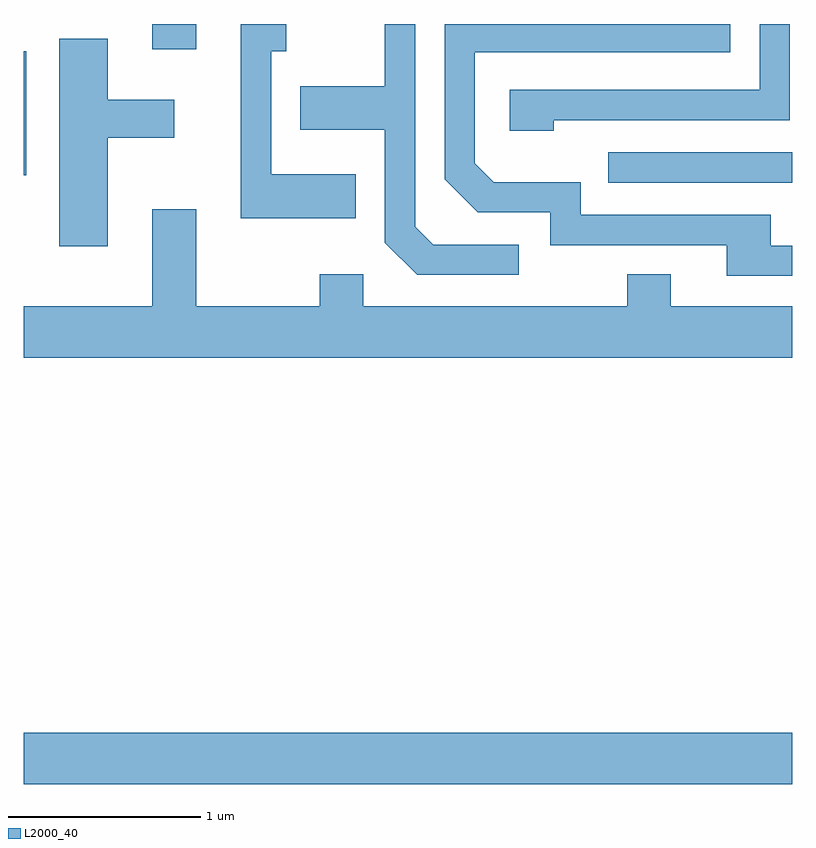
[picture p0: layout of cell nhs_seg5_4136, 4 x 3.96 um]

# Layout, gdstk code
import gdstk
lib = gdstk.Library(unit=1e-6, precision=1e-09)
def R(c, l, rs):  # rectangles x0, y0, x1, y1
    for r in rs: c.add(gdstk.rectangle(r[:2], r[2:], *l))
def P(c, l, *ps):  # polygons
    for p in ps: c.add(gdstk.Polygon(p, *l))
L2000_40 = (2000, 40)

nhs_seg5_4136 = lib.new_cell('nhs_seg5_4136')
R(nhs_seg5_4136, L2000_40, [(307.611,1470.116,311.611,1470.384), (310.653,1473.246,311.611,1473.404), (307.611,1473.286,307.624,1473.929), (308.281,1473.941,308.509,1474.072)])
P(nhs_seg5_4136, L2000_40, [(310.369,1473.571),(311.599,1473.571),(311.599,1474.072),(311.441,1474.072),(311.441,1473.729),(310.141,1473.729),(310.141,1473.516),(310.369,1473.516)],
  [(310.188,1472.924),(309.742,1472.924),(309.649,1473.017),(309.649,1474.072),(309.491,1474.072),(309.491,1473.749),(309.051,1473.749),(309.051,1473.521),(309.491,1473.521),(309.491,1472.934),(309.659,1472.766),(310.188,1472.766)],
  [(309.339,1473.289),(308.899,1473.289),(308.899,1473.931),(308.978,1473.931),(308.978,1474.072),(308.741,1474.072),(308.741,1473.061),(309.339,1473.061)],
  [(311.611,1472.919),(311.499,1472.919),(311.499,1473.079),(310.509,1473.079),(310.509,1473.249),(310.057,1473.249),(309.959,1473.347),(309.959,1473.926),(311.289,1473.926),(311.289,1474.072),(309.801,1474.072),(309.801,1473.264),(309.974,1473.091),(310.351,1473.091),(310.351,1472.921),(311.271,1472.921),(311.271,1472.761),(311.611,1472.761)],
  [(308.049,1473.481),(308.394,1473.481),(308.394,1473.679),(308.049,1473.679),(308.049,1473.994),(307.796,1473.994),(307.796,1472.916),(308.049,1472.916)],
  [(311.611,1472.604),(310.979,1472.604),(310.979,1472.769),(310.751,1472.769),(310.751,1472.604),(309.379,1472.604),(309.379,1472.769),(309.151,1472.769),(309.151,1472.604),(308.509,1472.604),(308.509,1473.109),(308.281,1473.109),(308.281,1472.604),(307.611,1472.604),(307.611,1472.336),(311.611,1472.336)])

lib.write_gds('nhs_seg5_4136.gds')
